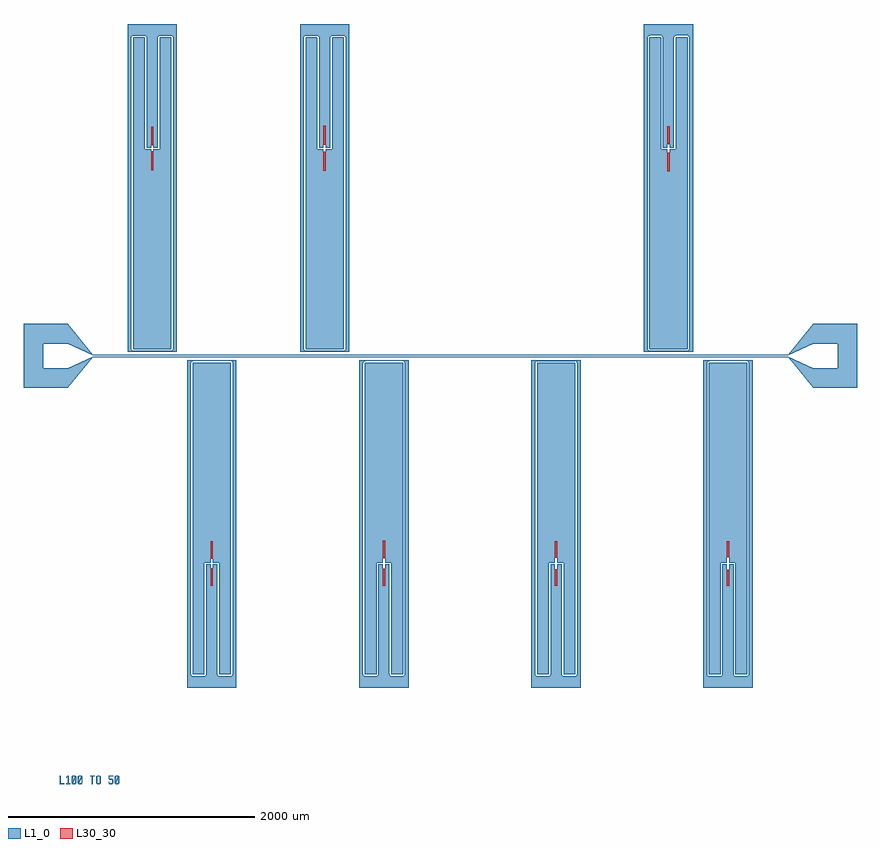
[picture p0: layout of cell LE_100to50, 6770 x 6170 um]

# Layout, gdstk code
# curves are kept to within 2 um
import gdstk
lib = gdstk.Library(unit=1e-6, precision=1e-09)
def R(c, l, rs):  # rectangles x0, y0, x1, y1
    for r in rs: c.add(gdstk.rectangle(r[:2], r[2:], *l))
def P(c, l, *ps):  # polygons
    for p in ps: c.add(gdstk.Polygon(p, *l))
L1_0 = (1, 0)
L30_30 = (30, 30)

le_100to50 = lib.new_cell('LE_100to50')
P(le_100to50, L1_0, [(365,3485),(365,4005),(725,4005),(925,3756),(6575,3756),(6775,4005),(6975,4005),(6975,3845),(6775,3845),(6575,3750),(925,3750),(725,3845),(525,3845),(525,3645),(725,3645),(925,3740),(6575,3740),(6775,3645),(6975,3645),(6975,4005),(7135,4005),(7135,3485),(6775,3485),(6575,3734),(925,3734),(725,3485)],
  [(5400.75,3781),(5400.75,6440),(5770.75,6440),(5770.75,6326),(5765,6340.25),(5750.75,6346),(5662,6345.75),(5651,6340.25),(5645.5,6329.25),(5645.25,5434),(5610,5434),(5610,5465.75),(5590,5465.75),(5590,5434),(5555.75,5434),(5555.5,6329.25),(5550,6340.25),(5535.75,6346),(5447.5,6345.75),(5436.5,6340.25),(5431,6329.25),(5430.75,3806),(5436.5,3791.75),(5450.75,3786),(5750.75,3786),(5765,3791.75),(5770.5,3802.75),(5770.75,6440),(5800.75,6440),(5800.75,3781)],
  [(5450.75,3801),(5445.75,3806),(5445.75,6326),(5450.75,6331),(5535.75,6331),(5540.5,6327.5),(5540.75,5424),(5590,5424),(5590,5394.25),(5610,5394.25),(5610,5424),(5660.25,5424),(5660.25,6326),(5665.25,6331),(5750.75,6331),(5755.75,6326),(5755.75,3806),(5750.75,3801)],
  [(2660.75,3801),(2655.75,3806),(2655.75,6326),(2660.75,6331),(2745.75,6331),(2750.5,6327.5),(2750.75,5424),(2800,5424),(2800,5401.5),(2820,5401.5),(2820,5424),(2870.25,5424),(2870.25,6326),(2875.25,6331),(2960.75,6331),(2965.75,6326),(2965.75,3806),(2960.75,3801)],
  [(2610.75,3781),(2610.75,6440),(2980.75,6440),(2980.75,6326),(2975,6340.25),(2960.75,6346),(2872,6345.75),(2861,6340.25),(2855.5,6329.25),(2855.25,5434),(2820,5434),(2820,5458.5),(2800,5458.5),(2800,5434),(2765.75,5434),(2765.5,6329.25),(2760,6340.25),(2745.75,6346),(2657.5,6345.75),(2646.5,6340.25),(2641,6329.25),(2640.75,3806),(2646.5,3791.75),(2660.75,3786),(2960.75,3786),(2975,3791.75),(2980.5,3802.75),(2980.75,6440),(3010.75,6440),(3010.75,3781)],
  [(1260.25,3801),(1255.25,3806),(1255.25,6326),(1260.25,6331),(1345.25,6331),(1350,6327.5),(1350.25,5424),(1400,5424),(1400,5405),(1420,5405),(1420,5424),(1469.75,5424),(1469.75,6326),(1474.75,6331),(1560.25,6331),(1565.25,6326),(1565.25,3806),(1560.25,3801)],
  [(1210.25,3781),(1210.25,6440),(1580.25,6440),(1580.25,6326),(1574.5,6340.25),(1560.25,6346),(1471.5,6345.75),(1460.5,6340.25),(1455,6329.25),(1454.75,5434),(1420,5434),(1420,5455),(1400,5455),(1400,5434),(1365.25,5434),(1365,6329.25),(1359.5,6340.25),(1345.25,6346),(1257,6345.75),(1246,6340.25),(1240.5,6329.25),(1240.25,3806),(1246,3791.75),(1260.25,3786),(1560.25,3786),(1574.5,3791.75),(1580,3802.75),(1580.25,6440),(1610.25,6440),(1610.25,3781)],
  [(1743.25,1159),(1738.25,1164),(1738.25,3684),(1743.25,3689),(2043.25,3689),(2048.25,3684),(2048.25,1164),(2043.25,1159),(1958.25,1159),(1953.5,1162.5),(1953.25,2066),(1903,2066),(1903,2099.25),(1883,2099.25),(1883,2066),(1833.75,2066),(1833.75,1164),(1828.75,1159)],
  [(1693.25,1050),(1693.25,3709),(2063.25,3709),(2063.25,3684),(2057.5,3698.25),(2043.25,3704),(1743.25,3704),(1729,3698.25),(1723.5,3687.25),(1723.25,1164),(1729,1149.75),(1743.25,1144),(1832,1144.25),(1843,1149.75),(1848.5,1160.75),(1848.75,2056),(1883,2056),(1883,2020.75),(1903,2020.75),(1903,2056),(1938.25,2056),(1938.5,1160.75),(1944,1149.75),(1958.25,1144),(2046.5,1144.25),(2057.5,1149.75),(2063,1160.75),(2063.25,3709),(2093.25,3709),(2093.25,1050)],
  [(3140.75,1159),(3135.75,1164),(3135.75,3684),(3140.75,3689),(3440.75,3689),(3445.75,3684),(3445.75,1164),(3440.75,1159),(3355.75,1159),(3351,1162.5),(3350.75,2066),(3301,2066),(3301,2103),(3281,2103),(3281,2066),(3231.25,2066),(3231.25,1164),(3226.25,1159)],
  [(3090.75,1050),(3090.75,3709),(3460.75,3709),(3460.75,3684),(3455,3698.25),(3440.75,3704),(3140.75,3704),(3126.5,3698.25),(3121,3687.25),(3120.75,1164),(3126.5,1149.75),(3140.75,1144),(3229.5,1144.25),(3240.5,1149.75),(3246,1160.75),(3246.25,2056),(3281,2056),(3281,2017),(3301,2017),(3301,2056),(3335.75,2056),(3336,1160.75),(3341.5,1149.75),(3355.75,1144),(3444,1144.25),(3455,1149.75),(3460.5,1160.75),(3460.75,3709),(3490.75,3709),(3490.75,1050)],
  [(658.75,270),(658.75,339),(666.5,339),(666.5,277.5),(697.25,277.5),(697.25,270)],
  [(712.5,270),(712.5,277.5),(724,277.5),(724,327.5),(716.5,320),(712.5,320),(712.5,327.5),(724,339),(731.75,339),(731.75,277.5),(743.25,277.5),(743.25,270)],
  [(762.5,270),(755,277.5),(754.75,331.5),(762.25,339),(766.5,339),(766.5,331.5),(762.5,327.5),(762.5,281.5),(766.5,277.5),(781.75,277.5),(785.5,281.25),(785.5,327.5),(781.75,331.25),(766.5,331.25),(766.5,339),(785.5,339),(793.25,331.5),(793.25,277.5),(785.5,270)],
  [(762.5,273.75),(754.75,277.5),(785.5,335.25),(793.25,331.5)],
  [(812.5,270),(805,277.5),(804.75,331.5),(812.25,339),(816.5,339),(816.5,331.5),(812.5,327.5),(812.5,281.5),(816.5,277.5),(831.75,277.5),(835.5,281.25),(835.5,327.5),(831.75,331.25),(816.5,331.25),(816.5,339),(835.5,339),(843.25,331.5),(843.25,277.5),(835.5,270)],
  [(812.5,273.75),(804.75,277.5),(835.5,335.25),(843.25,331.5)],
  [(920.25,270),(920.25,331.5),(904.75,331.5),(904.75,339),(943.25,339),(943.25,331.5),(928,331.5),(928,270)],
  [(962.5,270),(955,277.5),(954.75,331.5),(962.25,339),(966.5,339),(966.5,331.5),(962.5,327.5),(962.5,281.5),(966.5,277.5),(981.75,277.5),(985.5,281.25),(985.5,327.5),(981.75,331.25),(966.5,331.25),(966.5,339),(985.5,339),(993.25,331.5),(993.25,277.5),(985.5,270)],
  [(1062.5,270),(1055,277.5),(1055,289),(1062.5,289),(1062.5,281.5),(1066.5,277.5),(1081.75,277.5),(1085.5,281.25),(1085.5,300.75),(1081.75,304.5),(1062.5,304.5),(1054.75,312.25),(1054.75,339),(1093.25,339),(1093.25,331.5),(1062.5,331.5),(1062.5,316),(1066.5,312.25),(1085.5,312.25),(1093.25,304.5),(1093.25,277.5),(1085.5,270)],
  [(1112.5,270),(1105,277.5),(1104.75,331.5),(1112.25,339),(1116.5,339),(1116.5,331.5),(1112.5,327.5),(1112.5,281.5),(1116.5,277.5),(1131.75,277.5),(1135.5,281.25),(1135.5,327.5),(1131.75,331.25),(1116.5,331.25),(1116.5,339),(1135.5,339),(1143.25,331.5),(1143.25,277.5),(1135.5,270)],
  [(1112.5,273.75),(1104.75,277.5),(1135.5,335.25),(1143.25,331.5)],
  [(4538.75,1159),(4533.75,1164),(4533.75,3684),(4538.75,3689),(4838.75,3689),(4843.75,3684),(4843.75,1164),(4838.75,1159),(4753.75,1159),(4749,1162.5),(4748.75,2066),(4698.5,2066),(4698.5,2107.5),(4678.5,2107.5),(4678.5,2066),(4629.25,2066),(4629.25,1164),(4624.25,1159)],
  [(4488.75,1050),(4488.75,3709),(4858.75,3709),(4858.75,3684),(4853,3698.25),(4838.75,3704),(4538.75,3704),(4524.5,3698.25),(4519,3687.25),(4518.75,1164),(4524.5,1149.75),(4538.75,1144),(4627.5,1144.25),(4638.5,1149.75),(4644,1160.75),(4644.25,2056),(4678.5,2056),(4678.5,2014.5),(4698.5,2014.5),(4698.5,2056),(4733.75,2056),(4734,1160.75),(4739.5,1149.75),(4753.75,1144),(4842,1144.25),(4853,1149.75),(4858.5,1160.75),(4858.75,3709),(4888.75,3709),(4888.75,1050)],
  [(5933.75,1159),(5928.75,1164),(5928.75,3684),(5933.75,3689),(6233.75,3689),(6238.75,3684),(6238.75,1164),(6233.75,1159),(6148.75,1159),(6144,1162.5),(6143.75,2066),(6094,2066),(6094,2111),(6074,2111),(6074,2066),(6024.25,2066),(6024.25,1164),(6019.25,1159)],
  [(5883.75,1050),(5883.75,3709),(6253.75,3709),(6253.75,3684),(6248,3698.25),(6233.75,3704),(5933.75,3704),(5919.5,3698.25),(5914,3687.25),(5913.75,1164),(5919.5,1149.75),(5933.75,1144),(6022.5,1144.25),(6033.5,1149.75),(6039,1160.75),(6039.25,2056),(6074,2056),(6074,2011),(6094,2011),(6094,2056),(6128.75,2056),(6129,1160.75),(6134.5,1149.75),(6148.75,1144),(6237,1144.25),(6248,1149.75),(6253.5,1160.75),(6253.75,3709),(6283.75,3709),(6283.75,1050)])
R(le_100to50, L30_30, [(3281,1878,3301,2017), (1883,1878.5,1903,2021), (4678.5,1878.5,4698.5,2014.5), (6074,1881,6094,2011), (1883,2099,1903,2240), (3281,2103,3301,2244), (4678.5,2107.5,4698.5,2241.5), (6074,2111,6094,2240.5), (5590,5245.5,5610,5394), (2800,5249.5,2820,5401.5), (1400,5251,1420,5405), (1400,5455,1420,5607.5), (2800,5458.5,2820,5612), (5590,5466,5610,5610)])

lib.write_gds('LE_100to50.gds')
